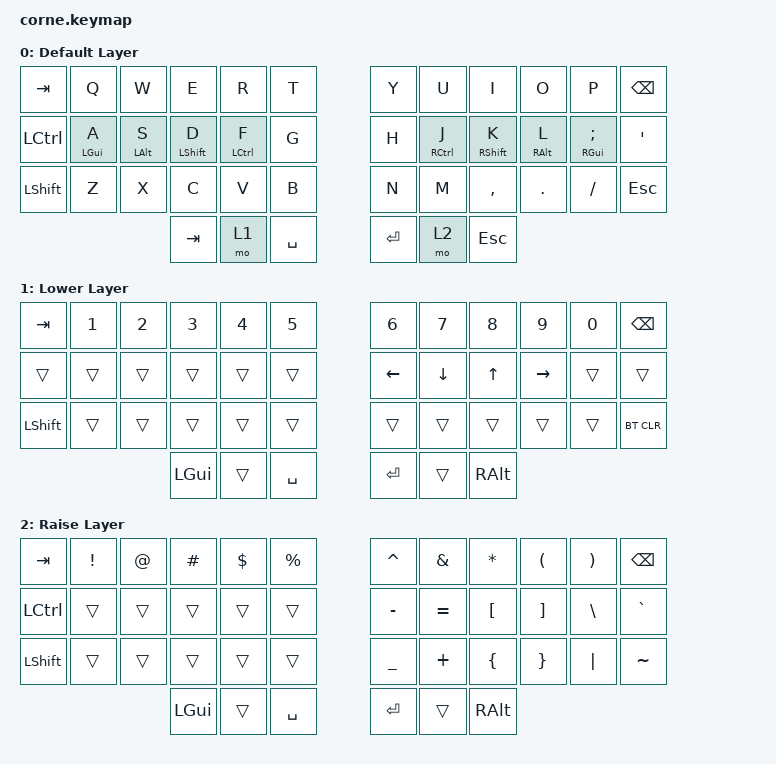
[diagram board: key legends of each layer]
/*
 * Copyright (c) 2020 The ZMK Contributors
 *
 * SPDX-License-Identifier: MIT
 */

#include <behaviors.dtsi>
#include <dt-bindings/zmk/keys.h>
#include <dt-bindings/zmk/bt.h>

/ {
        behaviors {
                hml: home_row_mod_left {
                    compatible = "zmk,behavior-hold-tap";
                    #binding-cells = <2>;
                    flavor = "balanced";
                    require-prior-idle-ms = <150>;
                    tapping-term-ms = <280>;
                    quick-tap-ms = <175>;
                    bindings = <&kp>, <&kp>;
                    hold-trigger-key-positions = <6 7 8 9 10 11 18 19 20 21 22 23 30 31 32 33 34 35 39 40 41>;
                    hold-trigger-on-release;
                };
                hmr: home_row_mod_right {
                    compatible = "zmk,behavior-hold-tap";
                    #binding-cells = <2>;
                    flavor = "balanced";
                    require-prior-idle-ms = <150>;
                    tapping-term-ms = <280>;
                    quick-tap-ms = <175>;
                    bindings = <&kp>, <&kp>;
                    hold-trigger-key-positions = <0 1 2 3 4 5 12 13 14 15 16 17 24 25 26 27 28 29 36 37 38>;
                    hold-trigger-on-release;
                };
        };
        keymap {
                compatible = "zmk,keymap";

                default_layer {
                        display-name = "Default Layer";
// -----------------------------------------------------------------------------------------
// |  TAB |  Q  |  W  |  E  |  R  |  T  |   |  Y  |  U   |  I  |  O  |  P  | BSPC |
// | CTRL |  A  |  S  |  D  |  F  |  G  |   |  H  |  J   |  K  |  L  |  ;  |  '   |
// | SHFT |  Z  |  X  |  C  |  V  |  B  |   |  N  |  M   |  ,  |  .  |  /  | ESC  |
//                    | TAB | LWR | SPC |   | ENT | RSE  | ESC |
                        bindings = <
   &kp TAB   &kp Q &kp W &kp E &kp R &kp T   &kp Y &kp U  &kp I     &kp O   &kp P    &kp BSPC
   &kp LCTRL &hml LGUI A &hml LALT S &hml LSHIFT D &hml LCTL F &kp G   &kp H &hmr RCTL J  &hmr RSHIFT K     &hmr RALT L   &hmr RGUI SEMI &kp SQT
   &kp LSHFT &kp Z &kp X &kp C &kp V &kp B   &kp N &kp M  &kp COMMA &kp DOT &kp FSLH &kp ESC
                  &kp TAB &mo 1 &kp SPACE   &kp RET &mo 2 &kp ESC
                        >;
                };
                lower_layer {
                        display-name = "Lower Layer";
// -----------------------------------------------------------------------------------------
// |  TAB |  1  |  2  |  3  |  4  |  5  |   |  6  |  7  |  8  |  9  |  0  | BSPC |
// |      |     |     |     |     |     |   | LFT | DWN |  UP | RGT |     |      |
// | SHFT |     |     |     |     |     |   |     |     |     |     |     |BTCLR |
//                    | GUI |     | SPC |   | ENT |     | ALT |
                        bindings = <
   &kp TAB    &kp N1       &kp N2       &kp N3       &kp N4       &kp N5         &kp N6   &kp N7   &kp N8 &kp N9    &kp N0 &kp BSPC
   &trans     &trans       &trans       &trans       &trans       &trans         &kp LEFT &kp DOWN &kp UP &kp RIGHT &trans &trans
   &kp LSHFT  &trans       &trans       &trans       &trans       &trans         &trans   &trans   &trans &trans    &trans &bt BT_CLR
                                    &kp LGUI     &trans       &kp SPACE      &kp RET  &trans   &kp RALT
                        >;
                };

                raise_layer {
                        display-name = "Raise Layer";
// -----------------------------------------------------------------------------------------
// |  TAB |  !  |  @  |  #  |  $  |  %  |   |  ^  |  &  |  *  |  (  |  )  | BSPC |
// | CTRL |     |     |     |     |     |   |  -  |  =  |  [  |  ]  |  \  |  `   |
// | SHFT |     |     |     |     |     |   |  _  |  +  |  {  |  }  | "|" |  ~   |
//                    | GUI |     | SPC |   | ENT |     | ALT |
                        bindings = <
   &kp  TAB  &kp EXCL &kp AT &kp HASH &kp DLLR &kp PRCNT   &kp CARET &kp AMPS  &kp ASTRK &kp LPAR &kp RPAR &kp BSPC
   &kp LCTRL &trans   &trans &trans   &trans   &trans      &kp MINUS &kp EQUAL &kp LBKT  &kp RBKT &kp BSLH &kp GRAVE
   &kp LSHFT &trans   &trans &trans   &trans   &trans      &kp UNDER &kp PLUS  &kp LBRC  &kp RBRC &kp PIPE &kp TILDE
                             &kp LGUI &trans   &kp SPACE   &kp RET   &trans    &kp RALT
                        >;
                };
        };
};
